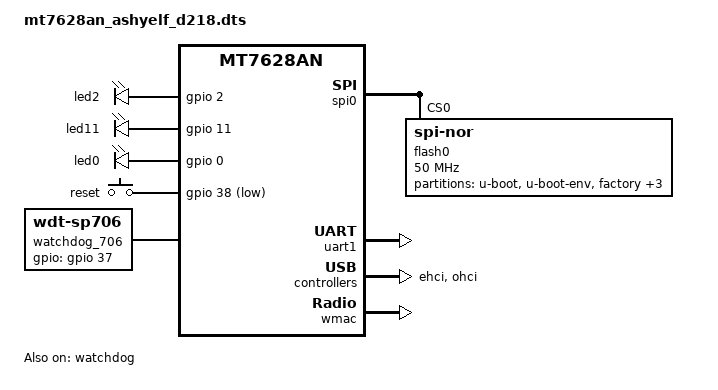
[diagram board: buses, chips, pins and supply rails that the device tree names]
// SPDX-License-Identifier: GPL-2.0-or-later OR MIT

#include "mt7628an.dtsi"

#include <dt-bindings/gpio/gpio.h>
#include <dt-bindings/input/input.h>

/ {
	compatible = "ashyelf,d218", "mediatek,mt7628an-soc";

	aliases {
		watchdog0 = &watchdog;
		watchdog9 = &watchdog_706;
	};

	chosen {
		/* No console= on ttyS0: keep UART for application (see uart/tty.cfg) */
		/* bootargs = "console=ttyS0,57600n8"; */
		bootargs = "rootfstype=squashfs,jffs2";
	};

	leds {
		compatible = "gpio-leds";

		bd_led1: led-1 {
			label = "led2";
			gpios = <&gpio 2 GPIO_ACTIVE_HIGH>;
		};
		bd_led2: led-2 {
			label = "led11";
			gpios = <&gpio 11 GPIO_ACTIVE_HIGH>;
		};
		bd_led3: led-3 {
			label = "led0";
			gpios = <&gpio 0 GPIO_ACTIVE_HIGH>;
		};
	};

	keys {
		compatible = "gpio-keys";

		reset {
			label = "reset";
			gpios = <&gpio 38 GPIO_ACTIVE_LOW>;
			linux,code = <KEY_RESTART>;
		};
	};

	watchdog_706: watchdog-706 {
		compatible = "linux,wdt-sp706";
		always-enabled;
		gpios = <&gpio 37 GPIO_ACTIVE_HIGH>;
		hw_algo = "toggle";
		hw_margin_ms = <500>;
		hw_timer_times = <10>;
		status = "okay";
	};
};

&spi0 {
	status = "okay";

    flash0: flash@0 {
		compatible = "jedec,spi-nor";
		reg = <0>;
		/* W25Q128JV: fR up to 133 MHz; 50 MHz safe first step vs 40 MHz */
		spi-max-frequency = <50000000>;

		partitions {
			compatible = "fixed-partitions";
			#address-cells = <1>;
			#size-cells = <1>;

			partition@0 {
				label = "u-boot";
				reg = <0x0 0x30000>;
			};

			partition@30000 {
				label = "u-boot-env";
				reg = <0x30000 0x10000>;
				read-only;
			};

			factory: partition@40000 {
				label = "factory";
				reg = <0x40000 0x10000>;

				nvmem-layout {
					compatible = "fixed-layout";
					#address-cells = <1>;
					#size-cells = <1>;

					eeprom_factory_0: eeprom@0 {
						reg = <0x0 0x400>;
					};

					eeprom_factory_8000: eeprom@8000 {
						reg = <0x8000 0x200>;
					};

					macaddr_factory_e000: macaddr@e000 {
						compatible = "mac-base";
						reg = <0xe000 0x6>;
					};
				};
			};

            firmware: partition@50000 {
				compatible = "denx,uimage";
				label = "firmware";
				reg = <0x50000 0xe30000>;
			};

            Fconfig: partition@e80000 {
				label = "Fconfig";
				reg = <0xe80000 0x100000>;
			};
            OEM: partition@f80000 {
				label = "OEM";
				reg = <0xf80000 0x80000>;
			};
		};
	};
};

&uart1 {
	status = "okay";
};

&ehci {
	status = "okay";
};

&ohci {
	status = "okay";
};

/* 2.4 GHz only (SoC &wmac); no PCIe WiFi on this board */
&pcie {
	status = "disabled";
};

&wmac {
	status = "okay";
	nvmem-cells = <&eeprom_factory_0>;
	nvmem-cell-names = "eeprom";
};

&ethernet {
	nvmem-cells = <&macaddr_factory_e000>;
	nvmem-cell-names = "mac-address";
};

&state_default {
	gpio {
		groups = "i2c", "refclk", "wdt";
		function = "gpio";
	};

	p0led_an {
		groups = "p0led_an";
		function = "p0led_an";
	};

	p1led_an {
		groups = "p1led_an";
		function = "p1led_an";
	};

	p2led_an {
		groups = "p2led_an";
		function = "p2led_an";
	};

	p3led_an {
		groups = "p3led_an";
		function = "p3led_an";
	};

	p4led_an {
		groups = "p4led_an";
		function = "p4led_an";
	};
};

&watchdog {
	status = "okay";
};
